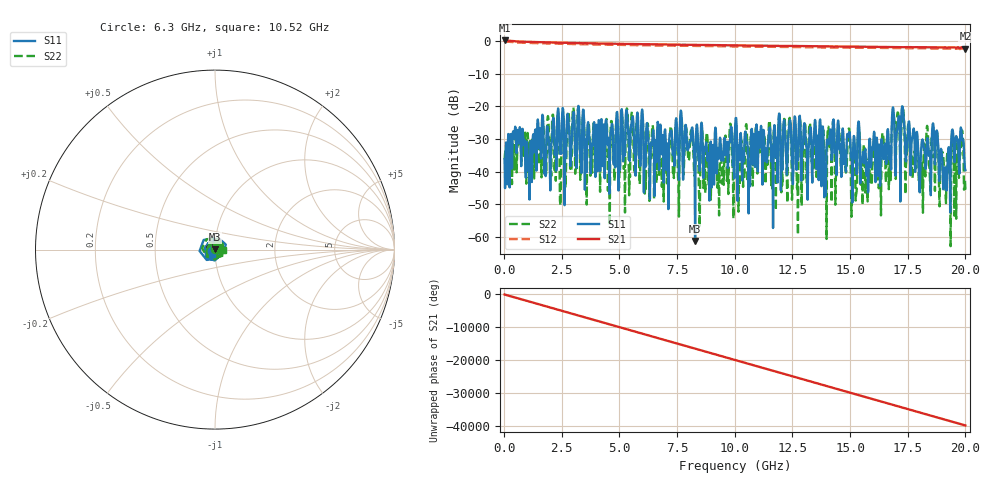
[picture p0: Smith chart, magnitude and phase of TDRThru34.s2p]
! File created by SignalIntegrity v1.3.3: Signal and Power Integrity Tools
! https://github.com/TeledyneLeCroy/SignalIntegrity
# MHz S MA R 50.0
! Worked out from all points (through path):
!   1000 points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, 20 MHz to 20 GHz, reference 50 ohm
!   highest |S21| = 0.25 dB at 20 MHz (marker M1); lowest = -2.3 dB at 20 GHz (marker M2)
!   lowest |S11| = -61.3 dB at 8.28 GHz (marker M3), VSWR 1.00, Z = 50.1 + j0.0699 ohm
!   |S11| at or under -10 dB: start of sweep to end of sweep
!   |S22| runs from -62.9 to -20.3 dB; largest |S21 - S12| = 0.039
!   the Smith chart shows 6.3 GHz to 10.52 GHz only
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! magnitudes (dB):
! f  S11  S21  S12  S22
! 20 MHz  -36.2  0.3  -0.1  -36.3
! 480 MHz  -26.2  0.0  -0.3  -29.5
! 1.02 GHz  -35.5  -0.2  -0.5  -28.2
! 1.58 GHz  -28.9  -0.3  -0.6  -32.0
! 3.36 GHz  -40.4  -0.6  -0.9  -38.7
! 6.68 GHz  -25.6  -1.0  -1.3  -29.7
! 8.28 GHz  -61.3  -1.1  -1.4  -38.7
! 9.34 GHz  -31.3  -1.2  -1.5  -40.4
! 10.02 GHz  -25.6  -1.3  -1.6  -27.2
! 13.34 GHz  -38.3  -1.5  -1.8  -36.0
! 14.92 GHz  -29.4  -1.6  -1.9  -27.9
! 15.16 GHz  -29.1  -1.7  -2.0  -31.3
! 15.42 GHz  -31.6  -1.7  -2.0  -29.3
! 15.84 GHz  -30.0  -1.7  -2.0  -39.0
! 16.68 GHz  -32.9  -1.7  -2.1  -45.4
! 17.24 GHz  -20.8  -1.8  -2.1  -24.2
! 18.06 GHz  -36.3  -1.8  -2.2  -44.8
! 18.3 GHz  -37.3  -1.8  -2.2  -30.1
! 18.68 GHz  -37.8  -1.9  -2.2  -45.9
! 19.12 GHz  -38.7  -1.9  -2.2  -41.6
! 19.82 GHz  -26.8  -1.9  -2.2  -30.0
! 20 GHz  -39.6  -2.3  -2.6  -45.6
